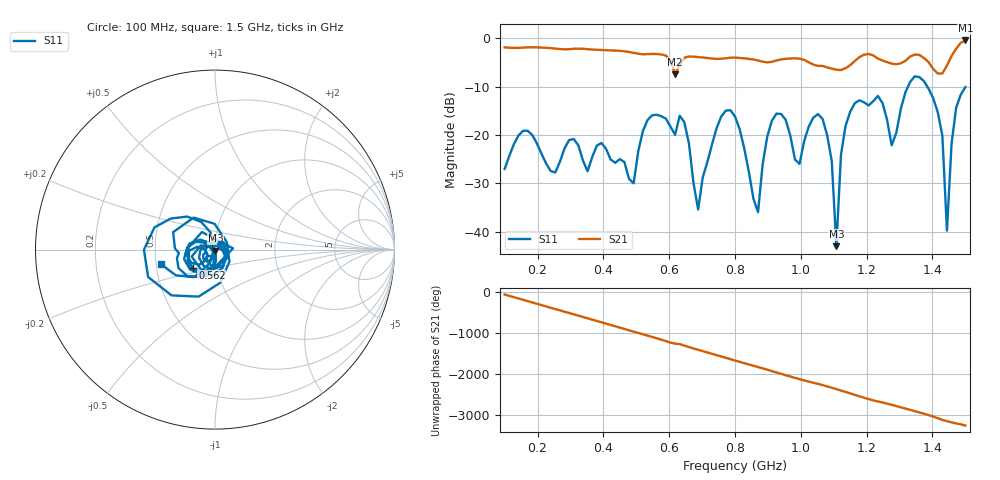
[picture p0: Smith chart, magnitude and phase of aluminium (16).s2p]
! NanoVNA-App
! Date: 2025-09-25 14:55:24
! Start: 100MHz Stop: 1,5GHz Points: 101
! S-Parameter data: F S11 S21 S12 S22
# Hz S RI R 50
!  Frequency  S11_Real  S11_Imag  S21_Real  S21_Imag  S12_Real  S12_Imag  S22_Real  S22_Imag
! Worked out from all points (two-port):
!   101 points, 100 MHz to 1.5 GHz, reference 50 ohm
!   highest |S21| = -0.49 dB at 1.5 GHz (marker M1); lowest = -7.4 dB at 618 MHz (marker M2)
!   |S21| within 3 dB of the highest: start of sweep to 582.9 MHz; 1.46 GHz to end of sweep (the widest 2 of 4)
!   lowest |S11| = -42.9 dB at 1.108 GHz (marker M3), VSWR 1.01, Z = 50.2 - j0.675 ohm
!   |S11| at or under -10 dB: start of sweep to 1.326 GHz; 1.384 GHz to end of sweep
!   S12 and S22 are empty: the file has one direction only
!   S11 on the Smith chart (normalised r, x): 100 MHz: 1.07, +0.06; 562 MHz: 0.76, -0.16; 1.5 GHz: 0.53, -0.10
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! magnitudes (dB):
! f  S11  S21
! 100 MHz  -27.0  -1.9
! 338 MHz  -25.3  -2.2
! 492 MHz  -30.0  -3.1
! 562 MHz  -15.8  -3.3
! 576 MHz  -16.1  -3.4
! 618 MHz  -20.0  -7.4
! 688 MHz  -35.4  -3.9
! 800 MHz  -16.2  -4.0
! 870 MHz  -35.9  -4.6
! 912 MHz  -17.1  -4.9
! 996 MHz  -26.0  -4.2
! 1.038 GHz  -16.4  -5.5
! 1.08 GHz  -20.0  -6.0
! 1.108 GHz  -42.9  -6.5
! 1.122 GHz  -24.1  -6.6
! 1.164 GHz  -13.4  -4.7
! 1.276 GHz  -22.1  -5.3
! 1.374 GHz  -8.9  -4.1
! 1.43 GHz  -20.1  -7.3
! 1.444 GHz  -39.7  -5.7
! 1.472 GHz  -14.3  -2.2
! 1.5 GHz  -10.1  -0.5
